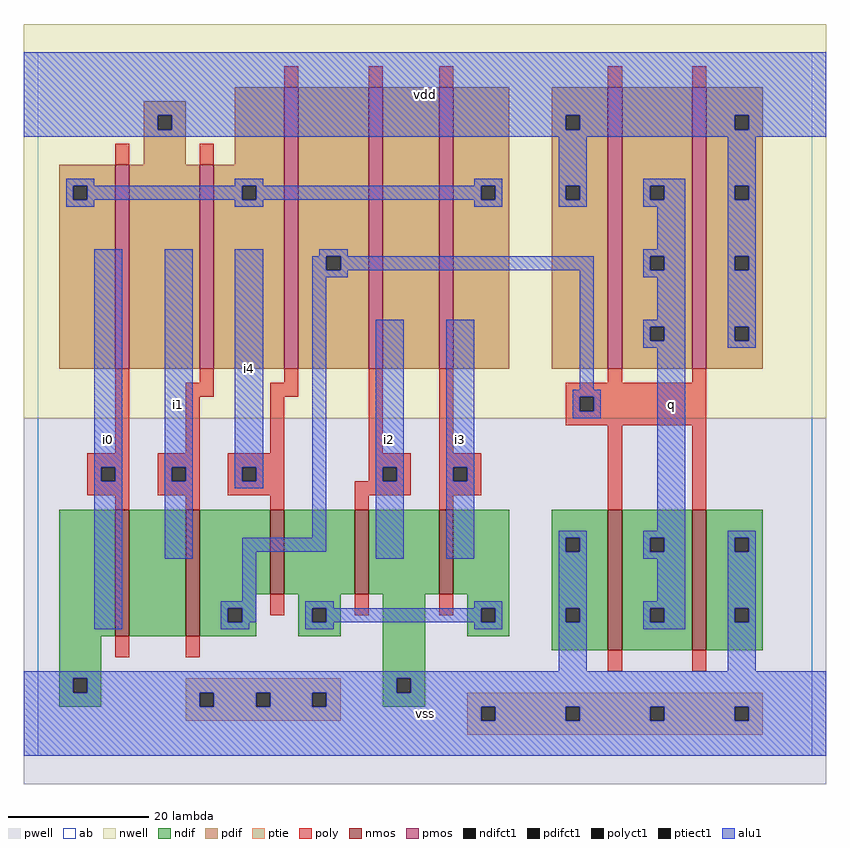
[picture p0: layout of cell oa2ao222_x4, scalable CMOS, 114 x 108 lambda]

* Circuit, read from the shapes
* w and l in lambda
.subckt oa2ao222_x4 i0 i1 i2 i3 i4 q vdd vss
M1 n1 i0 vss vss nfet w=18 l=2
M2 n2 i1 n1 vss nfet w=18 l=2
M3 n3 i4 n2 vss nfet w=12 l=2
M4 vss i2 n3 vss nfet w=12 l=2
M5 n3 i3 vss vss nfet w=12 l=2
M6 q n2 vss vss nfet w=20 l=2 m=2
M7 vdd i0 n4 n5 pfet w=29 l=2
M8 n4 i1 vdd n5 pfet w=29 l=2
M9 n2 i4 n4 n5 pfet w=40 l=2
M10 n6 i2 n2 n5 pfet w=40 l=2
M11 n4 i3 n6 n5 pfet w=40 l=2
M12 q n2 vdd n5 pfet w=40 l=2 m=2
.ends

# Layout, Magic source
magic
tech scmos
<< ab >>
rect 0 0 110 100
<< nwell >>
rect -2 48 112 104
<< pwell >>
rect -2 -4 112 48
<< poly >>
rect 35 95 37 98
rect 47 95 49 98
rect 57 95 59 98
rect 81 95 83 98
rect 93 95 95 98
rect 11 84 13 87
rect 23 84 25 87
rect 11 43 13 55
rect 23 53 25 55
rect 35 53 37 55
rect 21 51 25 53
rect 33 51 37 53
rect 21 43 23 51
rect 33 43 35 51
rect 7 41 13 43
rect 7 39 9 41
rect 11 39 13 41
rect 7 37 13 39
rect 17 41 23 43
rect 17 39 19 41
rect 21 39 23 41
rect 17 37 23 39
rect 27 41 35 43
rect 27 39 29 41
rect 31 39 35 41
rect 47 43 49 55
rect 57 43 59 55
rect 81 53 83 55
rect 93 53 95 55
rect 75 51 95 53
rect 75 49 77 51
rect 79 49 95 51
rect 75 47 95 49
rect 47 41 53 43
rect 47 39 49 41
rect 51 39 53 41
rect 27 37 35 39
rect 11 35 13 37
rect 21 35 23 37
rect 33 35 35 37
rect 45 37 53 39
rect 57 41 63 43
rect 57 39 59 41
rect 61 39 63 41
rect 57 37 63 39
rect 45 35 47 37
rect 57 35 59 37
rect 81 35 83 47
rect 93 35 95 47
rect 33 20 35 23
rect 45 20 47 23
rect 11 14 13 17
rect 21 14 23 17
rect 57 20 59 23
rect 81 12 83 15
rect 93 12 95 15
<< ndif >>
rect 3 17 11 35
rect 13 17 21 35
rect 23 23 33 35
rect 35 23 45 35
rect 47 23 57 35
rect 59 23 67 35
rect 23 21 31 23
rect 23 19 27 21
rect 29 19 31 21
rect 37 21 43 23
rect 23 17 31 19
rect 37 19 39 21
rect 41 19 43 21
rect 37 17 43 19
rect 3 11 9 17
rect 49 11 55 23
rect 61 21 67 23
rect 61 19 63 21
rect 65 19 67 21
rect 61 17 67 19
rect 73 31 81 35
rect 73 29 75 31
rect 77 29 81 31
rect 73 21 81 29
rect 73 19 75 21
rect 77 19 81 21
rect 73 15 81 19
rect 83 31 93 35
rect 83 29 87 31
rect 89 29 93 31
rect 83 21 93 29
rect 83 19 87 21
rect 89 19 93 21
rect 83 15 93 19
rect 95 31 103 35
rect 95 29 99 31
rect 101 29 103 31
rect 95 21 103 29
rect 95 19 99 21
rect 101 19 103 21
rect 95 15 103 19
rect 3 9 5 11
rect 7 9 9 11
rect 3 7 9 9
rect 49 9 51 11
rect 53 9 55 11
rect 49 7 55 9
<< pdif >>
rect 15 91 21 93
rect 15 89 17 91
rect 19 89 21 91
rect 15 84 21 89
rect 28 84 35 95
rect 3 81 11 84
rect 3 79 5 81
rect 7 79 11 81
rect 3 55 11 79
rect 13 55 23 84
rect 25 81 35 84
rect 25 79 29 81
rect 31 79 35 81
rect 25 55 35 79
rect 37 71 47 95
rect 37 69 41 71
rect 43 69 47 71
rect 37 55 47 69
rect 49 55 57 95
rect 59 81 67 95
rect 59 79 63 81
rect 65 79 67 81
rect 59 55 67 79
rect 73 91 81 95
rect 73 89 75 91
rect 77 89 81 91
rect 73 81 81 89
rect 73 79 75 81
rect 77 79 81 81
rect 73 55 81 79
rect 83 81 93 95
rect 83 79 87 81
rect 89 79 93 81
rect 83 71 93 79
rect 83 69 87 71
rect 89 69 93 71
rect 83 61 93 69
rect 83 59 87 61
rect 89 59 93 61
rect 83 55 93 59
rect 95 91 103 95
rect 95 89 99 91
rect 101 89 103 91
rect 95 81 103 89
rect 95 79 99 81
rect 101 79 103 81
rect 95 71 103 79
rect 95 69 99 71
rect 101 69 103 71
rect 95 61 103 69
rect 95 59 99 61
rect 101 59 103 61
rect 95 55 103 59
<< alu1 >>
rect -2 91 112 100
rect -2 89 17 91
rect 19 89 75 91
rect 77 89 99 91
rect 101 89 112 91
rect -2 88 112 89
rect 4 81 8 82
rect 28 81 32 82
rect 62 81 66 82
rect 4 79 5 81
rect 7 79 29 81
rect 31 79 63 81
rect 65 79 66 81
rect 4 78 8 79
rect 28 78 32 79
rect 62 78 66 79
rect 74 81 78 88
rect 74 79 75 81
rect 77 79 78 81
rect 74 78 78 79
rect 86 81 92 82
rect 86 79 87 81
rect 89 79 92 81
rect 86 78 92 79
rect 88 72 92 78
rect 8 41 12 72
rect 8 39 9 41
rect 11 39 12 41
rect 8 18 12 39
rect 18 41 22 72
rect 18 39 19 41
rect 21 39 22 41
rect 18 28 22 39
rect 28 41 32 72
rect 40 71 44 72
rect 86 71 92 72
rect 28 39 29 41
rect 31 39 32 41
rect 28 38 32 39
rect 39 69 41 71
rect 43 69 79 71
rect 39 68 44 69
rect 39 31 41 68
rect 29 29 41 31
rect 48 41 52 62
rect 48 39 49 41
rect 51 39 52 41
rect 29 22 31 29
rect 48 28 52 39
rect 58 41 62 62
rect 77 52 79 69
rect 86 69 87 71
rect 89 69 92 71
rect 86 68 92 69
rect 88 62 92 68
rect 86 61 92 62
rect 86 59 87 61
rect 89 59 92 61
rect 86 58 92 59
rect 98 81 102 88
rect 98 79 99 81
rect 101 79 102 81
rect 98 71 102 79
rect 98 69 99 71
rect 101 69 102 71
rect 98 61 102 69
rect 98 59 99 61
rect 101 59 102 61
rect 98 58 102 59
rect 76 51 80 52
rect 76 49 77 51
rect 79 49 80 51
rect 76 48 80 49
rect 58 39 59 41
rect 61 39 62 41
rect 58 28 62 39
rect 88 32 92 58
rect 74 31 78 32
rect 74 29 75 31
rect 77 29 78 31
rect 26 21 31 22
rect 26 19 27 21
rect 29 19 31 21
rect 38 21 42 22
rect 62 21 66 22
rect 38 19 39 21
rect 41 19 63 21
rect 65 19 66 21
rect 26 18 30 19
rect 38 18 42 19
rect 62 18 66 19
rect 74 21 78 29
rect 86 31 92 32
rect 86 29 87 31
rect 89 29 92 31
rect 86 28 92 29
rect 88 22 92 28
rect 74 19 75 21
rect 77 19 78 21
rect 74 12 78 19
rect 86 21 92 22
rect 86 19 87 21
rect 89 19 92 21
rect 86 18 92 19
rect 98 31 102 32
rect 98 29 99 31
rect 101 29 102 31
rect 98 21 102 29
rect 98 19 99 21
rect 101 19 102 21
rect 98 12 102 19
rect -2 11 112 12
rect -2 9 5 11
rect 7 9 51 11
rect 53 9 112 11
rect -2 7 23 9
rect 25 7 31 9
rect 33 7 39 9
rect 41 7 112 9
rect -2 5 63 7
rect 65 5 75 7
rect 77 5 87 7
rect 89 5 99 7
rect 101 5 112 7
rect -2 0 112 5
<< ptie >>
rect 21 9 43 11
rect 21 7 23 9
rect 25 7 31 9
rect 33 7 39 9
rect 41 7 43 9
rect 61 7 103 9
rect 21 5 43 7
rect 61 5 63 7
rect 65 5 75 7
rect 77 5 87 7
rect 89 5 99 7
rect 101 5 103 7
rect 61 3 103 5
<< nmos >>
rect 11 17 13 35
rect 21 17 23 35
rect 33 23 35 35
rect 45 23 47 35
rect 57 23 59 35
rect 81 15 83 35
rect 93 15 95 35
<< pmos >>
rect 11 55 13 84
rect 23 55 25 84
rect 35 55 37 95
rect 47 55 49 95
rect 57 55 59 95
rect 81 55 83 95
rect 93 55 95 95
<< polyct1 >>
rect 9 39 11 41
rect 19 39 21 41
rect 29 39 31 41
rect 77 49 79 51
rect 49 39 51 41
rect 59 39 61 41
<< ndifct1 >>
rect 27 19 29 21
rect 39 19 41 21
rect 63 19 65 21
rect 75 29 77 31
rect 75 19 77 21
rect 87 29 89 31
rect 87 19 89 21
rect 99 29 101 31
rect 99 19 101 21
rect 5 9 7 11
rect 51 9 53 11
<< ptiect1 >>
rect 23 7 25 9
rect 31 7 33 9
rect 39 7 41 9
rect 63 5 65 7
rect 75 5 77 7
rect 87 5 89 7
rect 99 5 101 7
<< pdifct1 >>
rect 17 89 19 91
rect 5 79 7 81
rect 29 79 31 81
rect 41 69 43 71
rect 63 79 65 81
rect 75 89 77 91
rect 75 79 77 81
rect 87 79 89 81
rect 87 69 89 71
rect 87 59 89 61
rect 99 89 101 91
rect 99 79 101 81
rect 99 69 101 71
rect 99 59 101 61
<< labels >>
rlabel alu1 10 45 10 45 6 i0
rlabel alu1 20 50 20 50 6 i1
rlabel alu1 30 55 30 55 6 i4
rlabel alu1 55 6 55 6 6 vss
rlabel alu1 50 45 50 45 6 i2
rlabel alu1 60 45 60 45 6 i3
rlabel alu1 55 94 55 94 6 vdd
rlabel alu1 90 50 90 50 6 q
<< end >>
